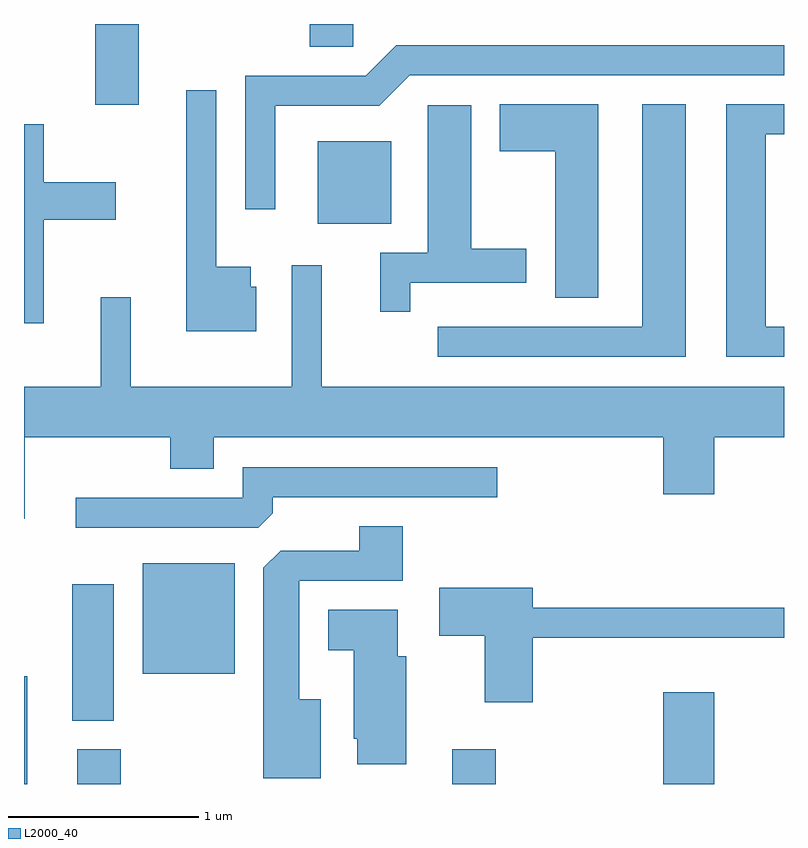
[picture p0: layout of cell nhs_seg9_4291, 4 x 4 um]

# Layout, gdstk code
import gdstk
lib = gdstk.Library(unit=1e-6, precision=1e-09)
def R(c, l, rs):  # rectangles x0, y0, x1, y1
    for r in rs: c.add(gdstk.rectangle(r[:2], r[2:], *l))
def P(c, l, *ps):  # polygons
    for p in ps: c.add(gdstk.Polygon(p, *l))
L2000_40 = (2000, 40)

nhs_seg9_4291 = lib.new_cell('nhs_seg9_4291')
R(nhs_seg9_4291, L2000_40, [(311.611,1994.432,311.629,1994.999), (311.891,1994.432,312.119,1994.614), (313.866,1994.432,314.094,1994.614), (314.976,1994.432,315.244,1994.914), (311.866,1994.766,312.084,1995.484), (312.236,1995.011,312.719,1995.594), (313.156,1997.381,313.544,1997.814), (311.986,1998.006,312.214,1998.432), (313.116,1998.311,313.344,1998.432)])
P(nhs_seg9_4291, L2000_40, [(312.934,1998.001),(313.482,1998.001),(313.642,1998.161),(315.611,1998.161),(315.611,1998.319),(313.569,1998.319),(313.409,1998.159),(312.776,1998.159),(312.776,1997.458),(312.934,1997.458)],
  [(312.834,1997.049),(312.804,1997.049),(312.804,1997.154),(312.624,1997.154),(312.624,1998.083),(312.466,1998.083),(312.466,1996.816),(312.834,1996.816)],
  [(314.634,1998.009),(314.116,1998.009),(314.116,1997.761),(314.406,1997.761),(314.406,1996.991),(314.634,1996.991)],
  [(315.094,1998.009),(314.866,1998.009),(314.866,1996.839),(313.788,1996.839),(313.788,1996.681),(315.094,1996.681)],
  [(315.611,1996.839),(315.514,1996.839),(315.514,1997.851),(315.611,1997.851),(315.611,1998.009),(315.306,1998.009),(315.306,1996.681),(315.611,1996.681)],
  [(313.644,1997.071),(314.254,1997.071),(314.254,1997.249),(313.964,1997.249),(313.964,1998.004),(313.736,1998.004),(313.736,1997.229),(313.486,1997.229),(313.486,1996.918),(313.644,1996.918)],
  [(311.714,1997.401),(312.094,1997.401),(312.094,1997.599),(311.714,1997.599),(311.714,1997.904),(311.611,1997.904),(311.611,1996.856),(311.714,1996.856)],
  [(311.614,1996.256),(312.381,1996.256),(312.381,1996.091),(312.609,1996.091),(312.609,1996.256),(314.976,1996.256),(314.976,1995.956),(315.244,1995.956),(315.244,1996.256),(315.611,1996.256),(315.611,1996.524),(313.179,1996.524),(313.179,1997.163),(313.021,1997.163),(313.021,1996.524),(312.174,1996.524),(312.174,1996.993),(312.016,1996.993),(312.016,1996.524),(311.611,1996.524),(311.611,1995.828),(311.614,1995.828)],
  [(312.919,1995.857),(312.919,1995.941),(314.103,1995.941),(314.103,1996.099),(312.761,1996.099),(312.761,1995.939),(311.883,1995.939),(311.883,1995.781),(312.844,1995.781)],
  [(313.174,1994.879),(313.059,1994.879),(313.059,1995.501),(313.604,1995.501),(313.604,1995.789),(313.376,1995.789),(313.376,1995.659),(312.962,1995.659),(312.871,1995.569),(312.871,1994.461),(313.174,1994.461)],
  [(314.289,1995.201),(315.611,1995.201),(315.611,1995.359),(314.289,1995.359),(314.289,1995.464),(313.796,1995.464),(313.796,1995.211),(314.036,1995.211),(314.036,1994.861),(314.289,1994.861)],
  [(313.624,1995.104),(313.579,1995.104),(313.579,1995.349),(313.211,1995.349),(313.211,1995.136),(313.346,1995.136),(313.346,1994.671),(313.366,1994.671),(313.366,1994.536),(313.624,1994.536)])

lib.write_gds('nhs_seg9_4291.gds')
